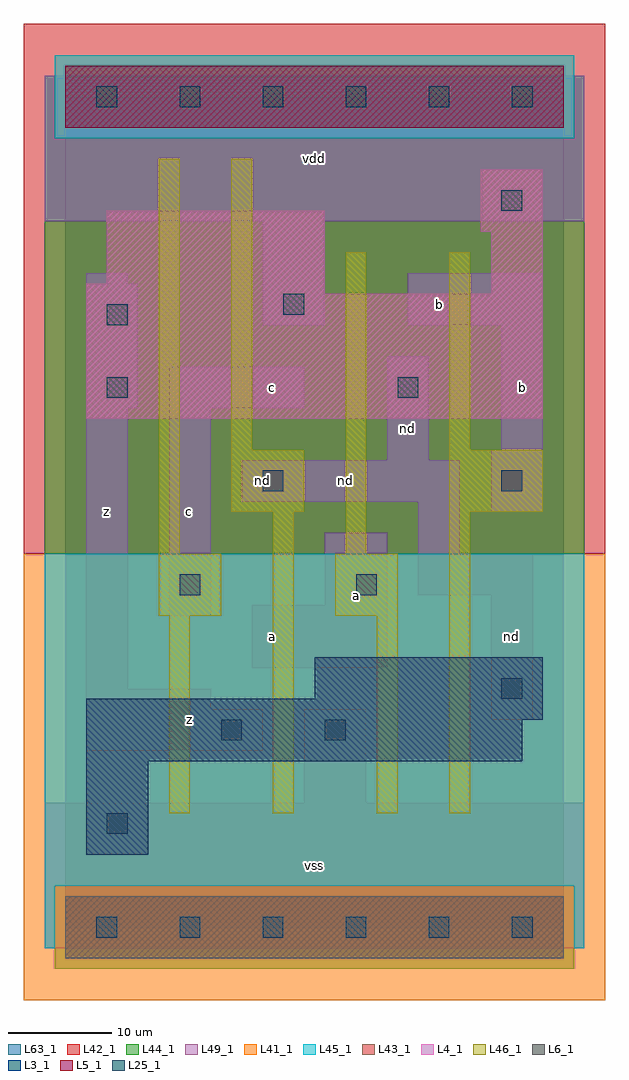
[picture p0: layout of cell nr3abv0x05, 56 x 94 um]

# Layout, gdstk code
import gdstk
lib = gdstk.Library(unit=1e-6, precision=1e-09)
def R(c, l, rs):  # rectangles x0, y0, x1, y1
    for r in rs: c.add(gdstk.rectangle(r[:2], r[2:], *l))
def A(c, l, x, y, w, h, nx, ny, dx, dy):  # array of equal rectangles
    R(c, l, [(x+i*dx, y+j*dy, x+i*dx+w, y+j*dy+h) for i in range(nx) for j in range(ny)])
L3_1 = (3, 1)
L4_1 = (4, 1)
L5_1 = (5, 1)
L6_1 = (6, 1)
L25_1 = (25, 1)
L41_1 = (41, 1)
L42_1 = (42, 1)
L43_1 = (43, 1)
L44_1 = (44, 1)
L45_1 = (45, 1)
L46_1 = (46, 1)
L49_1 = (49, 1)
L63_1 = (63, 1)

nr3abv0x05 = lib.new_cell('nr3abv0x05')
R(nr3abv0x05, L3_1, [(2,7,8,16), (2,16,44,20), (2,20,46,22), (24,22,46,26)])
R(nr3abv0x05, L4_1, [(2,49,46,61), (2,61,25,62), (41,61,46,67), (4,62,25,69), (40,67,46,73)])
R(nr3abv0x05, L5_1, [(0,77,48,83)])
R(nr3abv0x05, L6_1, [(0,-3,48,3), (0,-3,48,3)])
A(nr3abv0x05, L25_1, 3, -1, 2, 2, 6, 2, 8, 80)
R(nr3abv0x05, L25_1, [(4,9,6,11), (15,18,17,20), (25,18,27,20), (42,22,44,24), (11,32,13,34), (28,32,30,34), (19,42,21,44), (42,42,44,44), (4,51,6,53), (32,51,34,53), (4,58,6,60), (21,59,23,61), (42,69,44,71)])
R(nr3abv0x05, L41_1, [(-4,-7,52,36)])
R(nr3abv0x05, L42_1, [(-4,36,52,87)])
R(nr3abv0x05, L43_1, [(0,-3,48,3), (2,7,8,16), (2,16,44,20), (2,20,46,22), (24,22,46,26), (2,49,46,61), (2,61,25,62), (41,61,46,67), (4,62,25,69), (40,67,46,73), (0,77,48,83)])
R(nr3abv0x05, L44_1, [(-1,-4,49,4), (-2,36,50,76), (-2,76,-1,82), (49,76,50,82)])
R(nr3abv0x05, L45_1, [(-2,-2,-1,4), (49,-2,50,4), (-2,4,50,36), (-1,76,49,84)])
R(nr3abv0x05, L46_1, [(10,11,12,30), (20,11,22,40), (30,11,32,30), (37,11,39,40), (9,30,15,36), (26,30,32,36), (9,36,11,74), (27,36,29,65), (16,40,23,46), (37,40,46,46), (16,46,18,74), (37,46,39,65)])
R(nr3abv0x05, L49_1, [(-2,-2,50,12), (23,12,29,21), (2,17,19,21), (41,20,45,32), (2,21,14,23), (2,23,6,50), (18,25,31,31), (10,30,14,50), (25,31,31,38), (34,32,45,36), (34,36,38,41), (41,40,46,46), (17,41,38,45), (31,45,35,55), (42,46,46,58), (2,50,7,62), (10,50,23,54), (19,58,25,68), (33,58,46,63), (2,62,6,63), (-2,68,50,82)])
R(nr3abv0x05, L63_1, [(0,0,48,80)])
nr3abv0x05.add(gdstk.Label('nd', (19,43), layer=49, texttype=1))
nr3abv0x05.add(gdstk.Label('z', (4,40), layer=49, texttype=1))
nr3abv0x05.add(gdstk.Label('z', (12,20), layer=49, texttype=1))
nr3abv0x05.add(gdstk.Label('a', (20,28), layer=49, texttype=1))
nr3abv0x05.add(gdstk.Label('c', (12,40), layer=49, texttype=1))
nr3abv0x05.add(gdstk.Label('c', (20,52), layer=49, texttype=1))
nr3abv0x05.add(gdstk.Label('vss', (24,6), layer=49, texttype=1))
nr3abv0x05.add(gdstk.Label('a', (28,32), layer=49, texttype=1))
nr3abv0x05.add(gdstk.Label('nd', (33,48), layer=49, texttype=1))
nr3abv0x05.add(gdstk.Label('vdd', (24,74), layer=49, texttype=1))
nr3abv0x05.add(gdstk.Label('nd', (43,28), layer=49, texttype=1))
nr3abv0x05.add(gdstk.Label('nd', (27,43), layer=49, texttype=1))
nr3abv0x05.add(gdstk.Label('b', (44,52), layer=49, texttype=1))
nr3abv0x05.add(gdstk.Label('b', (36,60), layer=49, texttype=1))

lib.write_gds('nr3abv0x05.gds')
